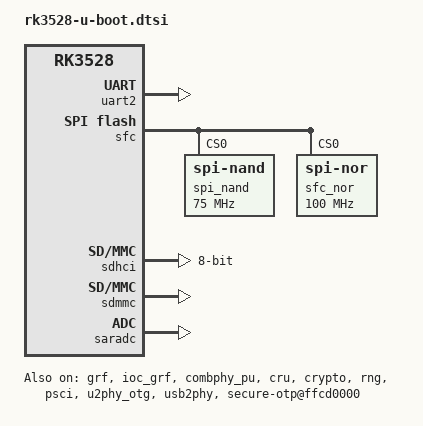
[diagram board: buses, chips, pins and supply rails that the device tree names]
/*
 * (C) Copyright 2022 Rockchip Electronics Co., Ltd
 *
 * SPDX-License-Identifier:     GPL-2.0+
 */

/ {
	aliases {
		mmc0 = &sdhci;
		mmc1 = &sdmmc;
	};

	chosen {
		stdout-path = &uart2;
		u-boot,spl-boot-order = &sdmmc, &sdhci, &spi_nand, &spi_nor;
	};

	secure-otp@ffcd0000 {
		compatible = "rockchip,rk3528-secure-otp";
		reg = <0x0 0xffcd0000 0x0 0x4000>;
		secure_conf = <0xff4500c0>;
		mask_addr = <0x0>;
		cru_rst_addr = <0xff4a8080>;
		u-boot,dm-spl;
		status = "okay";
	};

};

&grf {
	u-boot,dm-spl;
	status = "okay";
};

&ioc_grf {
	u-boot,dm-spl;
	status = "okay";
};

&combphy_pu {
	u-boot,dm-pre-reloc;
	status = "okay";
};

&cru {
	/delete-property/ assigned-clocks;
	/delete-property/ assigned-clock-rates;
	u-boot,dm-spl;
	status = "okay";
};

&crypto {
	u-boot,dm-spl;
	status = "okay";
};

&rng {
	u-boot,dm-pre-reloc;
	status = "okay";
};

&psci {
	u-boot,dm-pre-reloc;
	status = "okay";
};

&uart2 {
	clock-frequency = <24000000>;
	u-boot,dm-spl;
	status = "okay";
};

&sfc {
	u-boot,dm-spl;
	/delete-property/ pinctrl-names;
	/delete-property/ pinctrl-0;
	/delete-property/ assigned-clocks;
	/delete-property/ assigned-clock-rates;
	status = "okay";

	#address-cells = <1>;
	#size-cells = <0>;
	spi_nand: flash@0 {
		u-boot,dm-spl;
		compatible = "spi-nand";
		reg = <0>;
		spi-tx-bus-width = <1>;
		spi-rx-bus-width = <4>;
		spi-max-frequency = <75000000>;
	};

	spi_nor: flash@1 {
		u-boot,dm-spl;
		compatible = "jedec,spi-nor";
		label = "sfc_nor";
		reg = <0>;
		spi-tx-bus-width = <1>;
		spi-rx-bus-width = <4>;
		spi-max-frequency = <100000000>;
	};
};

&sdhci {
	bus-width = <8>;
	u-boot,dm-spl;
	/delete-property/ assigned-clocks;
	/delete-property/ assigned-clock-rates;
	/delete-property/ pinctrl-names;
	/delete-property/ pinctrl-0;
	mmc-hs400-1_8v;
	mmc-hs400-enhanced-strobe;
	fixed-emmc-driver-type = <1>;
	status = "okay";
};

&sdmmc {
	u-boot,dm-spl;
	status = "okay";
};

&saradc {
	u-boot,dm-pre-reloc;
	status = "okay";
};

&u2phy_otg {
	u-boot,dm-pre-reloc;
	status = "okay";
};

&usb2phy {
	u-boot,dm-pre-reloc;
	status = "okay";
};

&firmware {
	u-boot,dm-spl;
};

&scmi {
	u-boot,dm-spl;
};

&scmi_clk {
	u-boot,dm-spl;
};

&scmi_shmem {
	u-boot,dm-spl;
};

&pinctrl {
	u-boot,dm-spl;
	status = "okay";
};

&gpio0 {
	u-boot,dm-spl;
};

&gpio1 {
	u-boot,dm-spl;
};

&gpio2 {
	u-boot,dm-spl;
};

/* Avaliable for PCIe */
&gpio3 {
	u-boot,dm-pre-reloc;
};

/* Avaliable for PCIe */
&gpio4 {
	u-boot,dm-pre-reloc;
};

&pcfg_pull_none_drv_level_1 {
	u-boot,dm-spl;
};

&pcfg_pull_none_drv_level_2 {
	u-boot,dm-spl;
};

&pcfg_pull_up_drv_level_1 {
	u-boot,dm-spl;
};

&pcfg_pull_up_drv_level_2 {
	u-boot,dm-spl;
};

&pcfg_pull_up {
	u-boot,dm-spl;
};

&pcfg_pull_none {
	u-boot,dm-spl;
};

&sdmmc_pins {
	u-boot,dm-spl;
};

&sdmmc_bus4 {
	u-boot,dm-spl;
};

&sdmmc_clk {
	u-boot,dm-spl;
};

&sdmmc_cmd {
	u-boot,dm-spl;
};

&sdmmc_det {
	u-boot,dm-spl;
};
